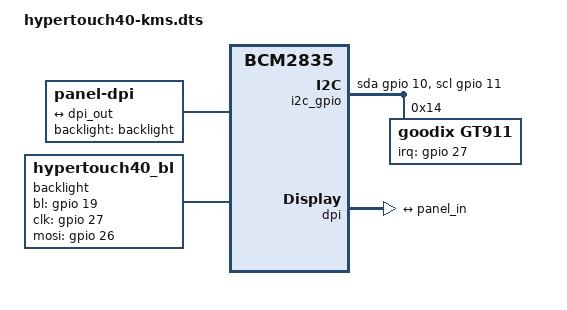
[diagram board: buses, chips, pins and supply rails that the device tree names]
/*
 * HyperTouch 4.0 KMS/DRM Driver Overlay
 * Based on Pimoroni HyperPixel 4.0 but adapted for HyperTouch 4.0 pinout
 *
 * Differences to HyperPixel 4.0:
 * - No Reset GPIO for Touch (GPIO 22 is DPI Red 4 on HyperTouch)
 * - Custom Backlight Driver (AL3050 SingleWire) instead of PWM
 */

/dts-v1/;
/plugin/;

/* Removed includes to avoid preprocessing errors with standard dtc */

/ {
    compatible = "brcm,bcm2835";

    fragment@0 {
        target = <&gpio>;
        __overlay__ {
            dpi18_pins: dpi18_pins {
                brcm,pins = <0 1 2 3 4 5 6 7 8 9 12 13 14 15 16 17 20 21 22 23 24 25>;
                brcm,function = <6>; /* BCM2835_FSEL_ALT2 (DPI) */
                brcm,pull = <0>;     /* BCM2835_PUD_OFF */
            };
        };
    };

    fragment@1 {
        target-path = "/";
        __overlay__ {
            /* Define the panel */
            panel: panel {
                compatible = "panel-dpi";
                /* We use the custom backlight driver node defined below */
                backlight = <&backlight>;
                
                width-mm = <52>;
                height-mm = <86>;
                bus-format = <0x1015>; /* MEDIA_BUS_FMT_RGB666_1X18 */

                panel-timing {
                    clock-frequency = <32000000>;
                    hactive = <480>;
                    hfront-porch = <10>;
                    hsync-len = <16>;
                    hback-porch = <59>;
                    hsync-active = <0>; /* 0 = Low active, 1 = High */
                    
                    vactive = <800>;
                    vfront-porch = <15>;
                    vsync-len = <113>;
                    vback-porch = <15>;
                    vsync-active = <0>;

                    de-active = <1>; /* High active */
                    pixelclk-active = <0>; /* 0 = Drive on falling edge, 1 = Rising */
                };

                port {
                    panel_in: endpoint {
                        remote-endpoint = <&dpi_out>;
                    };
                };
            };
        };
    };

    /* 2. Hook up panel to VC4 DPI output */
    fragment@2 {
        target = <&dpi>; /* defined in vc4-kms-v3d overlay usually */
        __overlay__ {
            status = "okay";
            pinctrl-names = "default";
            pinctrl-0 = <&dpi18_pins>;

            port {
                dpi_out: endpoint {
                    remote-endpoint = <&panel_in>;
                };
            };
        };
    };

    /* 3. Touch Controller (Goodix) */
    fragment@3 {
        target = <&i2c_gpio>; /* Using Software I2C on GPIO 10/11 */
        __overlay__ {
            status = "okay";
            
            gt911: gt911@14 {
                compatible = "goodix,gt911";
                reg = <0x14>;
                interrupt-parent = <&gpio>;
                interrupts = <27 2>; /* IRQ_TYPE_EDGE_FALLING */
                /* 
                 * No reset-gpios defined: The Reset line is pulled High via 
                 * a hardware resistor (3.3V). It is not connected to a GPIO.
                 * Address selection (0x14 vs 0x5D) depends solely on the 
                 * state of INT (GPIO 27) at power-on.
                 */
                touchscreen-size-x = <480>;
                touchscreen-size-y = <800>;
                touchscreen-x-mm = <51>;
                touchscreen-y-mm = <85>;
                touchscreen-swapped-x-y;
            };
        };
    };
    
    /* 4. Define Software I2C Bus (if not present) */
    fragment@4 {
        target-path = "/";
        __overlay__ {
            i2c_gpio: i2c@0 {
                compatible = "i2c-gpio";
                #address-cells = <1>;
                #size-cells = <0>;
                gpios = <&gpio 10 0 /* sda - GPIO_ACTIVE_HIGH */
                         &gpio 11 0 /* scl - GPIO_ACTIVE_HIGH */
                        >;
                i2c-gpio,delay-us = <4>;
                status = "okay";
            };
        };
    };

    /* 5. Custom Backlight Driver Hookup */
    fragment@5 {
        target-path = "/soc";
        __overlay__ {
            backlight: backlight {
                compatible = "hypertouch40_bl";
                bl-gpios = <&gpio 19 0>;
                clk-gpios = <&gpio 27 0>;
                mosi-gpios = <&gpio 26 0>;
                cs-gpios = <&gpio 18 0>;
            };
        };
    };

    __overrides__ {
        touchscreen-inverted-x = <&gt911>,"touchscreen-inverted-x";
        touchscreen-inverted-y = <&gt911>,"touchscreen-inverted-y";
        touchscreen-swapped-x-y = <&gt911>,"touchscreen-swapped-x-y";
    };
};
